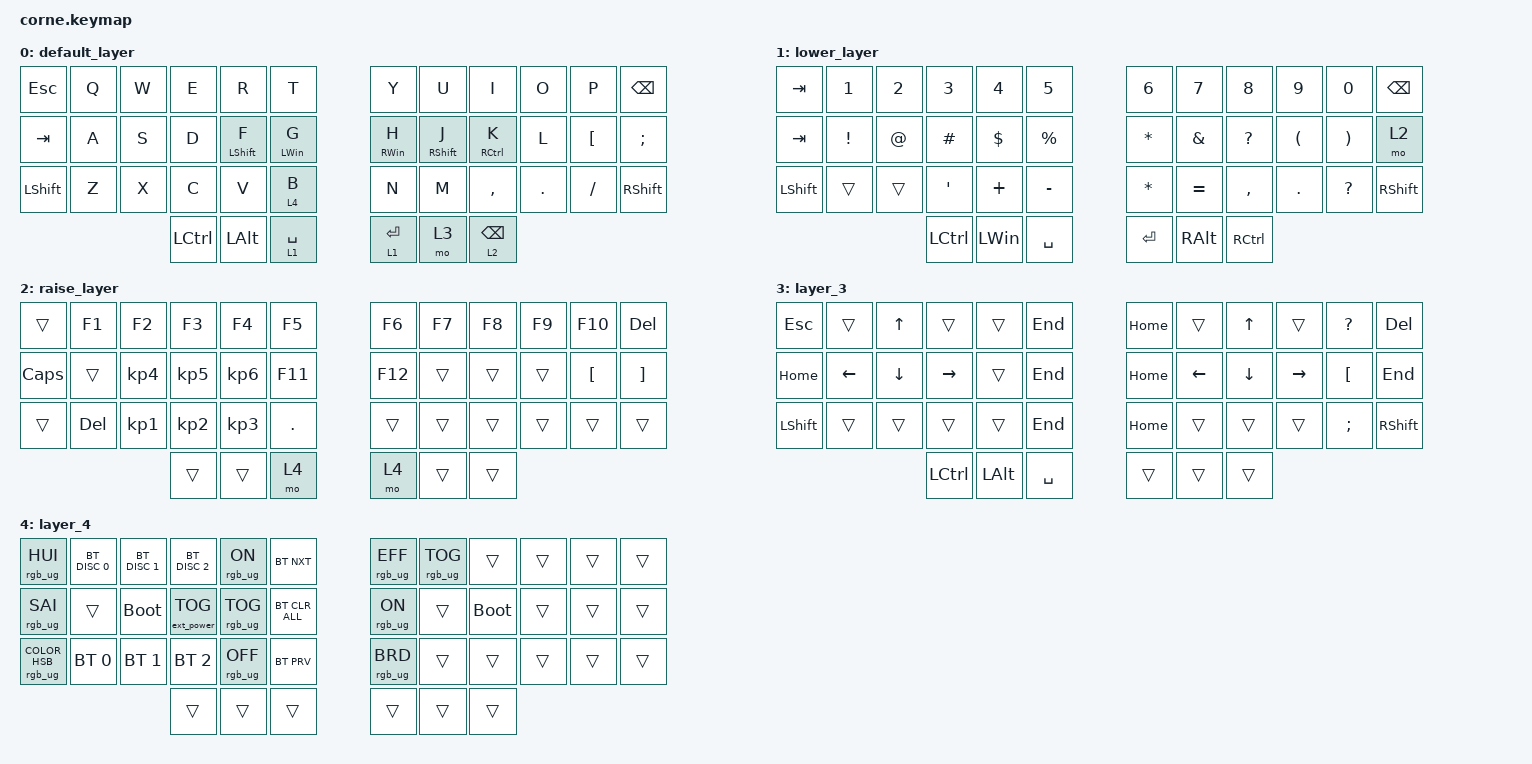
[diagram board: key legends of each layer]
/*
 * Copyright (c) 2020 The ZMK Contributors
 *
 * SPDX-License-Identifier: MIT
 */

#include <behaviors.dtsi>
#include <dt-bindings/zmk/bt.h>
#include <dt-bindings/zmk/ext_power.h>
#include <dt-bindings/zmk/keys.h>
#include <dt-bindings/zmk/outputs.h>
#include <dt-bindings/zmk/rgb.h>

/ {
    behaviors {
        hm: homerow_mods {
            compatible = "zmk,behavior-hold-tap";
            label = "HOMEROW_MODS";
            #binding-cells = <2>;
            tapping-term-ms = <200>;
            quick_tap_ms = <0>;
            flavor = "tap-preferred";
            bindings = <&kp>, <&kp>;

            quick-tap-ms = <180>;
            global-quick-tap;
        };

        ltq: ltq {
            compatible = "zmk,behavior-hold-tap";
            label = "LTQ";
            bindings = <&mo>, <&kp>;

            #binding-cells = <2>;
            tapping-term-ms = <600>;
            global-quick-tap;
            quick-tap-ms = <400>;
        };
    };

    combos {
        compatible = "zmk,combos";

        left_bkt {
            bindings = <&kp LEFT_PARENTHESIS>;
            key-positions = <4 5>;
            timeout-ms = <50>;
        };

        right_bkt {
            bindings = <&kp RIGHT_PARENTHESIS>;
            key-positions = <7 6>;
            timeout-ms = <50>;
        };

        left_par {
            bindings = <&kp LEFT_BRACE>;
            key-positions = <3 4>;
            timeout-ms = <50>;
        };

        right_par {
            bindings = <&kp RIGHT_BRACE>;
            key-positions = <7 8>;
            timeout-ms = <50>;
        };

        bac {
            bindings = <&kp BACKSLASH>;
            key-positions = <5 6>;
        };

        pipe {
            bindings = <&kp PIPE>;
            key-positions = <17 18>;
        };

        slash {
            bindings = <&kp SLASH>;
            key-positions = <29 30>;
        };

        comillas {
            bindings = <&kp SQT>;
            key-positions = <29 28>;
        };

        comillaDoble {
            bindings = <&kp DOUBLE_QUOTES>;
            key-positions = <16 17>;
        };

        out {
            bindings = <&out OUT_TOG>;
            key-positions = <0 4>;
        };

        power {
            bindings = <&ext_power EP_TOG>;
            key-positions = <5 0>;
        };

        home {
            bindings = <&kp HOME>;
            key-positions = <3 4 5>;
        };

        end {
            bindings = <&kp END>;
            key-positions = <27 28 29>;
        };
    };

    keymap {
        compatible = "zmk,keymap";

        default_layer {
            bindings = <
&kp ESC    &kp Q  &kp W  &kp E             &kp R             &kp T           &kp Y            &kp U         &kp I            &kp O    &kp P             &kp BSPC
&kp TAB    &kp A  &kp S  &kp D             &hm LEFT_SHIFT F  &hm LEFT_WIN G  &hm RIGHT_WIN H  &hm RSHIFT J  &hm RCTRL K      &kp L    &kp LEFT_BRACKET  &kp SEMICOLON
&kp LSHFT  &kp Z  &kp X  &kp C             &kp V             &lt 4 B         &kp N            &kp M         &kp COMMA        &kp DOT  &kp FSLH          &kp RIGHT_SHIFT
                         &kp LEFT_CONTROL  &kp LEFT_ALT      &lt 1 SPACE     &lt 1 ENTER      &mo 3         &lt 2 BACKSPACE
            >;
        };

        lower_layer {
            bindings = <
&kp TAB     &kp N1           &kp N2       &kp N3            &kp N4        &kp N5       &kp N6        &kp N7         &kp N8             &kp N9                &kp N0                 &kp BSPC
&kp TAB     &kp EXCLAMATION  &kp AT_SIGN  &kp HASH          &kp DOLLAR    &kp PERCENT  &kp ASTERISK  &kp AMPERSAND  &kp QUESTION       &kp LEFT_PARENTHESIS  &kp RIGHT_PARENTHESIS  &mo 2
&kp LSHIFT  &trans           &trans       &kp SQT           &kp PLUS      &kp MINUS    &kp ASTERISK  &kp EQUAL      &kp COMMA          &kp PERIOD            &kp QUESTION           &kp RIGHT_SHIFT
                                          &kp LEFT_CONTROL  &kp LEFT_WIN  &kp SPACE    &kp ENTER     &kp RIGHT_ALT  &kp RIGHT_CONTROL
            >;
        };

        raise_layer {
            bindings = <
&trans        &kp F1      &kp F2           &kp F3           &kp F4           &kp F5   &kp F6   &kp F7  &kp F8  &kp F9  &kp F10           &kp DEL
&kp CAPSLOCK  &trans      &kp KP_NUMBER_4  &kp KP_NUMBER_5  &kp KP_NUMBER_6  &kp F11  &kp F12  &trans  &trans  &trans  &kp LEFT_BRACKET  &kp RBKT
&trans        &kp DELETE  &kp KP_NUMBER_1  &kp KP_NUMBER_2  &kp KP_NUMBER_3  &kp DOT  &trans   &trans  &trans  &trans  &trans            &trans
                                           &trans           &trans           &mo 4    &mo 4    &trans  &trans
            >;
        };

        layer_3 {
            bindings = <
&kp ESCAPE      &trans          &kp UP_ARROW    &trans            &trans        &kp END    &kp HOME  &trans          &kp UP_ARROW    &trans           &kp QUESTION      &kp DELETE
&kp HOME        &kp LEFT_ARROW  &kp DOWN_ARROW  &kp RIGHT_ARROW   &trans        &kp END    &kp HOME  &kp LEFT_ARROW  &kp DOWN_ARROW  &kp RIGHT_ARROW  &kp LEFT_BRACKET  &kp END
&kp LEFT_SHIFT  &trans          &trans          &trans            &trans        &kp END    &kp HOME  &trans          &trans          &trans           &kp SEMICOLON     &kp RIGHT_SHIFT
                                                &kp LEFT_CONTROL  &kp LEFT_ALT  &kp SPACE  &trans    &trans          &trans
            >;
        };

        layer_4 {
            bindings = <
&rgb_ug RGB_HUI                 &bt BT_DISC 0  &bt BT_DISC 1  &bt BT_DISC 2      &rgb_ug RGB_ON   &bt BT_NXT      &rgb_ug RGB_EFF  &rgb_ug RGB_TOG  &trans       &trans  &trans  &trans
&rgb_ug RGB_SAI                 &trans         &bootloader    &ext_power EP_TOG  &rgb_ug RGB_TOG  &bt BT_CLR_ALL  &rgb_ug RGB_ON   &trans           &bootloader  &trans  &trans  &trans
&rgb_ug RGB_COLOR_HSB(0,39,46)  &bt BT_SEL 0   &bt BT_SEL 1   &bt BT_SEL 2       &rgb_ug RGB_OFF  &bt BT_PRV      &rgb_ug RGB_BRD  &trans           &trans       &trans  &trans  &trans
                                                              &trans             &trans           &trans          &trans           &trans           &trans
            >;
        };
    };
};
